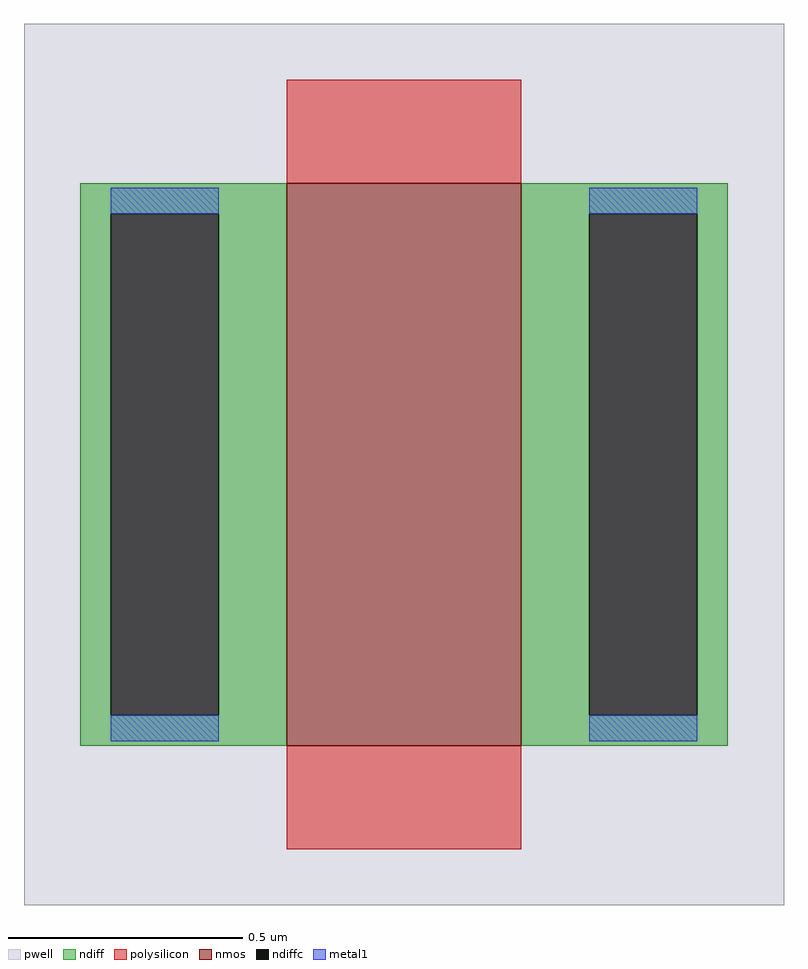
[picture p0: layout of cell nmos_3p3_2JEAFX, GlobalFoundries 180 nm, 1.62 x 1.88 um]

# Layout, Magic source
magic
tech gf180mcuC
magscale 1 10
<< pwell >>
rect -162 -188 162 188
<< nmos >>
rect -50 -120 50 120
<< ndiff >>
rect -138 107 -50 120
rect -138 -107 -125 107
rect -79 -107 -50 107
rect -138 -120 -50 -107
rect 50 107 138 120
rect 50 -107 79 107
rect 125 -107 138 107
rect 50 -120 138 -107
<< ndiffc >>
rect -125 -107 -79 107
rect 79 -107 125 107
<< polysilicon >>
rect -50 120 50 164
rect -50 -164 50 -120
<< metal1 >>
rect -125 107 -79 118
rect -125 -118 -79 -107
rect 79 107 125 118
rect 79 -118 125 -107
<< properties >>
string gencell nmos_3p3
string library gf180mcu
string parameters w 1.2 l 0.5 m 1 nf 1 diffcov 100 polycov 100 guard 0 glc 0 grc 0 gtc 0 gbc 0 tbcov 100 rlcov 100 topc 0 botc 0 poverlap 0 doverlap 1 lmin 0.28 wmin 0.22 full_metal 0 compatible {nmos_3p3 nmos_6p0 nmos_6p0_nat}
<< end >>
